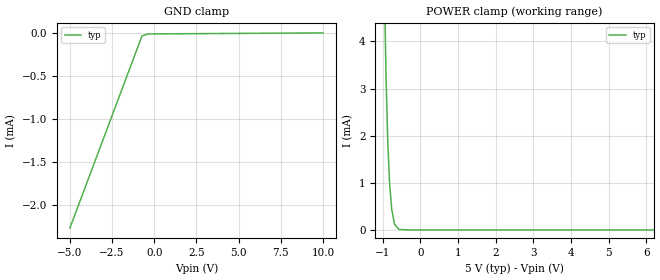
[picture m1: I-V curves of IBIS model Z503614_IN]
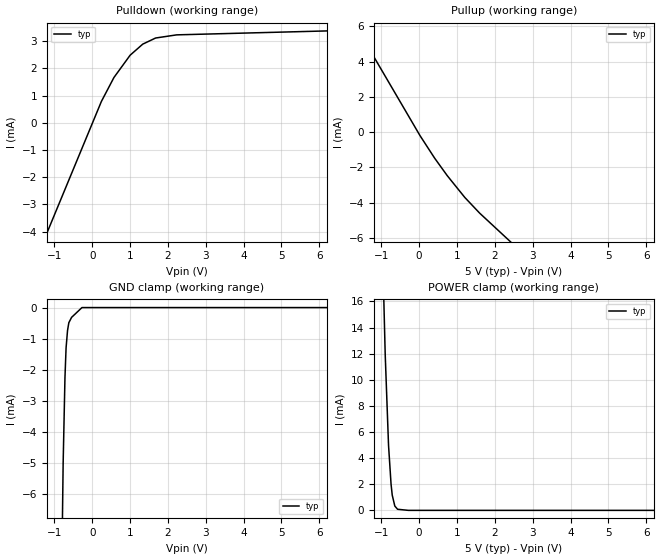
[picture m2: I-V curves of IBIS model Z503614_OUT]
| YOU ARE ONLY AUTHORIZED TO USE THIS SOFTWARE
| ACCORDING TO LICENSOR'S LICENSE RESTRICTIONS.
[IBIS Ver] 3.1
[File Name] mc14510bcl.ibs
[File Rev] 2.0
[Source] Measured and created by ICX Technology
[Date] Friday 7/14/00 9:07:56 AM
[Copyright]
| (C) COPYRIGHT 1993-2000
| MENTOR GRAPHICS CORPORATION
| ICX STANDARD LIBRARY, ICX PROJECT MODELING,
| ICX CUSTOM MODELING, ICX VENDOR MODEL
| ALL RIGHTS RESERVED.
| THE FOLLOWING ARE TRADEMARKS OR SERVICE MARKS OF
| MENTOR GRAPHICS CORPORATION:ICX (R), ICX STANDARD
| LIBRARY(R), ICX PROJECT MODELING(R), ICX CUSTOM
| MODELING(R), qualityIBIS(TM), MODELVIEWER(TM),
| AND MODELEDITOR(TM)
| ALL COPIES OF SOFTWARE, INCLUDING BUT NOT LIMITED TO
| ANY MODIFICATIONS, ENHANCEMENTS OR DERIVATIVE WORKS,
| MUST CONTAIN ALL MENTOR GRAPHICS CORPORATION'S
| NOTICES AND LEGENDS, INCLUDING THOSE EMBEDDED IN
| SOFTWARE AND THOSE AFFIXED TO SOFTWARE MEDIUM
| AND CONTAINER, AS RECEIVED FROM MENTOR GRAPHICS
| CORPORATION.
|  ZAP Model Builder 2.7
[Component] MC14510BCL
[Manufacturer] OnSemiconductor
[Package]
| variable   typ   min   max
R_pkg  .212ohms NA NA
L_pkg  4.758nH NA NA
C_pkg  1.944pF NA NA
[Pin] signal_name  model_name  R_pin  L_pin C_pin
1 PE Z503614_IN .224 7.258n 2.683p
2 Q4 Z503614_OUT .216 5.258n 2.19p
3 P4 Z503614_IN .208 3.758n 1.697p
4 P1 Z503614_IN .2 2.758n 1.204p
5 _CI Z503614_IN .2 2.758n 1.204p
6 Q1 Z503614_OUT .208 3.758n 1.697p
7 _CO Z503614_OUT .216 5.258n 2.19p
8 VSS POWER .224 7.258n 2.683p
9 R Z503614_IN .224 7.258n 2.683p
10 U/D Z503614_IN .216 5.258n 2.19p
11 Q2 Z503614_OUT .208 3.758n 1.697p
12 P2 Z503614_IN .2 2.758n 1.204p
13 P3 Z503614_IN .2 2.758n 1.204p
14 Q3 Z503614_OUT .208 3.758n 1.697p
15 C Z503614_IN .216 5.258n 2.19p
16 VDD POWER .224 7.258n 2.683p
| Models and submodels in the file (2): Z503614_IN (Input), Z503614_OUT (Output)
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| (C) COPYRIGHT 1993-2000
| MENTOR GRAPHICS CORPORATION
| ICX STANDARD LIBRARY, ICX PROJECT MODELING,
| ICX CUSTOM MODELING, ICX VENDOR MODEL
| ALL RIGHTS RESERVED.
| THE FOLLOWING ARE TRADEMARKS OR SERVICE MARKS OF
| MENTOR GRAPHICS CORPORATION:ICX (R), ICX STANDARD
| LIBRARY(R), ICX PROJECT MODELING(R), ICX CUSTOM
| MODELING(R), qualityIBIS(TM), MODELVIEWER(TM),
| AND MODELEDITOR(TM)
| ALL COPIES OF SOFTWARE, INCLUDING BUT NOT LIMITED TO
| ANY MODIFICATIONS, ENHANCEMENTS OR DERIVATIVE WORKS,
| MUST CONTAIN ALL MENTOR GRAPHICS CORPORATION'S
| NOTICES AND LEGENDS, INCLUDING THOSE EMBEDDED IN
| SOFTWARE AND THOSE AFFIXED TO SOFTWARE MEDIUM
| AND CONTAINER, AS RECEIVED FROM MENTOR GRAPHICS
| CORPORATION.
| Model Application Version 1.89 2/18/99.
[Model] Z503614_IN
Model_type Input
Vinl = 1.500V
Vinh = 3.500V
C_comp 4.000pF NA NA
| variable typ   min   max
[Voltage Range] 5.000V NA NA
[GND Clamp Reference] 0.000V NA NA
[POWER Clamp Reference] 5.000V NA NA
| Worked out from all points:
|   POWER clamp passes 1 mA (typ) near -0.82 V on its own axis
[GND Clamp]
-5V       -2.273mA   NA         NA
-728.4mV  -35.29uA   NA         NA
-364.2mV  -11.49uA   NA         NA
10V       858.9nA    NA         NA
[POWER Clamp]
-5V       265.4mA    NA         NA
-1.011V   7.685mA    NA         NA
-913mV    3.246mA    NA         NA
-869mV    1.933mA    NA         NA
-820mV    1.005mA    NA         NA
-762mV    444.5uA    NA         NA
-688mV    123.4uA    NA         NA
-571mV    11.06uA    NA         NA
-285.5mV  0A         NA         NA
10V       0A         NA         NA
| (C) COPYRIGHT 1993-2000
| MENTOR GRAPHICS CORPORATION
| ICX STANDARD LIBRARY, ICX PROJECT MODELING,
| ICX CUSTOM MODELING, ICX VENDOR MODEL
| ALL RIGHTS RESERVED.
| THE FOLLOWING ARE TRADEMARKS OR SERVICE MARKS OF
| MENTOR GRAPHICS CORPORATION:ICX (R), ICX STANDARD
| LIBRARY(R), ICX PROJECT MODELING(R), ICX CUSTOM
| MODELING(R), qualityIBIS(TM), MODELVIEWER(TM),
| AND MODELEDITOR(TM)
| ALL COPIES OF SOFTWARE, INCLUDING BUT NOT LIMITED TO
| ANY MODIFICATIONS, ENHANCEMENTS OR DERIVATIVE WORKS,
| MUST CONTAIN ALL MENTOR GRAPHICS CORPORATION'S
| NOTICES AND LEGENDS, INCLUDING THOSE EMBEDDED IN
| SOFTWARE AND THOSE AFFIXED TO SOFTWARE MEDIUM
| AND CONTAINER, AS RECEIVED FROM MENTOR GRAPHICS
| CORPORATION.
| Model Application Version 1.89 2/18/99.
[Model] Z503614_OUT
Model_type Output
Vref=0.000V
Rref=500.0Mohms
Cref=50.00pF
Vmeas=2.500V
C_comp 8.000pF NA NA
| variable typ   min   max
[Voltage Range] 5.000V NA NA
[POWER Clamp Reference] 5.000V NA NA
[Pullup Reference] 5.000V NA NA
[Pulldown Reference] 0.000V NA NA
[GND Clamp Reference] 0.000V NA NA
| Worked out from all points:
|   slope of the pulldown table from 0 to 0.75 V, typ, clamps not added: 370 ohm
|   slope of the pullup table from 0 to 0.75 V, typ, clamps not added: 316 ohm
|   GND clamp passes 1 mA (typ) near -0.67 V on its own axis
|   POWER clamp passes 1 mA (typ) near -0.70 V on its own axis
[GND Clamp]
-5V       -413.1mA   NA         NA
-770.8mV  -5.03mA    NA         NA
-722.5mV  -2.252mA   NA         NA
-693.3mV  -1.302mA   NA         NA
-654.6mV  -738.4uA   NA         NA
-620.1mV  -487.2uA   NA         NA
-546.9mV  -314.9uA   NA         NA
-273.4mV  0A         NA         NA
10V       0A         NA         NA
[Pulldown]
-5V       -16.81mA   NA         NA
239.9mV   782.2uA    NA         NA
572.4mV   1.664mA    NA         NA
1.001V    2.483mA    NA         NA
1.333V    2.888mA    NA         NA
1.673V    3.113mA    NA         NA
2.231V    3.229mA    NA         NA
10V       3.512mA    NA         NA
[Pullup]
-5V       18.2mA     NA         NA
24mV      -207.7uA   NA         NA
410mV     -1.482mA   NA         NA
742mV     -2.471mA   NA         NA
1.206V    -3.706mA   NA         NA
1.597V    -4.593mA   NA         NA
10V       -21.33mA   NA         NA
[POWER Clamp]
-5V       480.4mA    NA         NA
-898mV    11.95mA    NA         NA
-810mV    4.991mA    NA         NA
-743mV    1.992mA    NA         NA
-712mV    1.164mA    NA         NA
-644mV    331.4uA    NA         NA
-571mV    83.86uA    NA         NA
-285.5mV  0A         NA         NA
10V       0A         NA         NA
[Ramp]
| variable typ min max
dV/dt_r 2.687/19.72n NA NA
dV/dt_f 2.687/14.79n NA NA
R_load = 2.500kOhms
